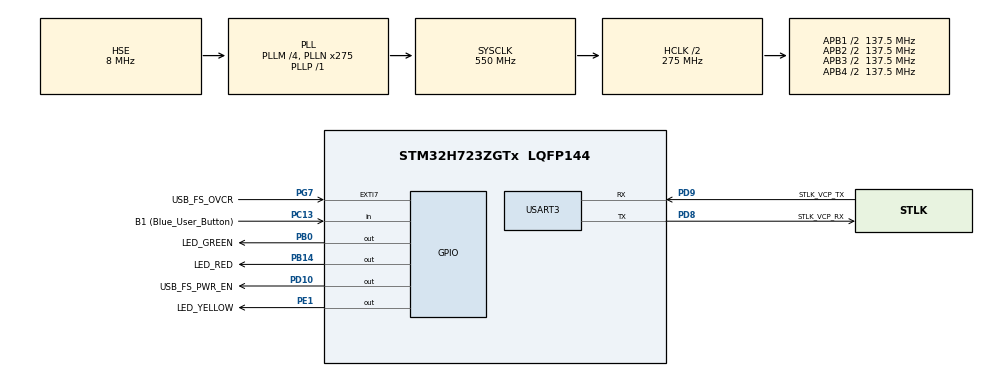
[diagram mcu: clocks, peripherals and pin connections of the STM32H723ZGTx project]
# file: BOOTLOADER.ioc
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Dma.Request0=USART3_TX
Dma.USART3_TX.0.Direction=DMA_MEMORY_TO_PERIPH
Dma.USART3_TX.0.EventEnable=DISABLE
Dma.USART3_TX.0.FIFOMode=DMA_FIFOMODE_DISABLE
Dma.USART3_TX.0.Instance=DMA1_Stream0
Dma.USART3_TX.0.MemDataAlignment=DMA_MDATAALIGN_BYTE
Dma.USART3_TX.0.MemInc=DMA_MINC_ENABLE
Dma.USART3_TX.0.Mode=DMA_NORMAL
Dma.USART3_TX.0.PeriphDataAlignment=DMA_PDATAALIGN_BYTE
Dma.USART3_TX.0.PeriphInc=DMA_PINC_DISABLE
Dma.USART3_TX.0.Polarity=HAL_DMAMUX_REQ_GEN_RISING
Dma.USART3_TX.0.Priority=DMA_PRIORITY_MEDIUM
Dma.USART3_TX.0.RequestNumber=1
Dma.USART3_TX.0.SignalID=NONE
Dma.USART3_TX.0.SyncEnable=DISABLE
Dma.USART3_TX.0.SyncPolarity=HAL_DMAMUX_SYNC_NO_EVENT
Dma.USART3_TX.0.SyncRequestNumber=1
Dma.USART3_TX.0.SyncSignalID=NONE
Mcu.Family=STM32H7
Mcu.Name=STM32H723ZGTx
Mcu.Package=LQFP144
NVIC.DMA1_Stream0_IRQn=true\:0\:0\:false\:false\:true\:false\:true\:true
NVIC.PriorityGroup=NVIC_PRIORITYGROUP_4
NVIC.USART3_IRQn=true\:0\:0\:false\:false\:true\:true\:true\:true
PA1.GPIO_Label=RMII_REF_CLK
PA1.Signal=ETH_REF_CLK
PA10.GPIO_Label=USB_FS_ID
PA10.Signal=USB_OTG_HS_ID
PA13(JTMS/SWDIO).GPIO_Label=SWDIO
PA13(JTMS/SWDIO).Mode=Trace_Asynchronous_SW
PA13(JTMS/SWDIO).Signal=DEBUG_JTMS-SWDIO
PA14(JTCK/SWCLK).GPIO_Label=SWCLK
PA14(JTCK/SWCLK).Mode=Trace_Asynchronous_SW
PA14(JTCK/SWCLK).Signal=DEBUG_JTCK-SWCLK
PA2.GPIO_Label=RMII_MDIO
PA2.Signal=ETH_MDIO
PA7.GPIO_Label=RMII_CRS_DV
PA7.Signal=ETH_CRS_DV
PA9.GPIO_Label=USB_FS_VBUS
PA9.Signal=USB_OTG_HS_VBUS
PB0.GPIO_Label=LED_GREEN
PB0.Signal=GPIO_Output
PB13.GPIO_Label=RMII_TXD1
PB13.Signal=ETH_TXD1
PB14.GPIO_Label=LED_RED
PB14.Signal=GPIO_Output
PB3(JTDO/TRACESWO).GPIO_Label=SWO
PB3(JTDO/TRACESWO).Mode=Trace_Asynchronous_SW
PB3(JTDO/TRACESWO).Signal=DEBUG_JTDO-SWO
PC1.GPIO_Label=RMII_MDC
PC1.Signal=ETH_MDC
PC13.GPIO_Label=B1 (Blue_User_Button)
PC13.Signal=GPIO_Input
PC14-OSC32_IN.Mode=LSE-External-Oscillator
PC14-OSC32_IN.Signal=RCC_OSC32_IN
PC15-OSC32_OUT.Mode=LSE-External-Oscillator
PC15-OSC32_OUT.Signal=RCC_OSC32_OUT
PC4.GPIO_Label=RMII_RXD0
PC4.Signal=ETH_RXD0
PC5.GPIO_Label=RMII_RXD1
PC5.Signal=ETH_RXD1
PD10.GPIO_Label=USB_FS_PWR_EN
PD10.Signal=GPIO_Output
PD8.GPIO_Label=STLK_VCP_RX
PD8.Mode=Asynchronous
PD8.Signal=USART3_TX
PD9.GPIO_Label=STLK_VCP_TX
PD9.Mode=Asynchronous
PD9.Signal=USART3_RX
PE1.GPIO_Label=LED_YELLOW
PE1.Signal=GPIO_Output
PG11.GPIO_Label=RMII_TX_EN
PG11.Signal=ETH_TX_EN
PG13.GPIO_Label=RMII_TXD0
PG13.Signal=ETH_TXD0
PG7.GPIO_Label=USB_FS_OVCR
PG7.Signal=GPXTI7
PH0-OSC_IN.GPIO_Label=MCO
PH0-OSC_IN.Mode=HSE-External-Clock-Source
PH0-OSC_IN.Signal=RCC_OSC_IN
PH1-OSC_OUT.Signal=RCC_OSC_OUT
ProjectManager.HeapSize=0x200
ProjectManager.StackSize=0x400
ProjectManager.TargetToolchain=STM32CubeIDE
RCC.ADCFreq_Value=76000000
RCC.APB1Freq_Value=137500000
RCC.APB2Freq_Value=137500000
RCC.APB3Freq_Value=137500000
RCC.APB4Freq_Value=137500000
RCC.CortexFreq_Value=550000000
RCC.D1PPRE=RCC_APB3_DIV2
RCC.D2PPRE1=RCC_APB1_DIV2
RCC.D2PPRE2=RCC_APB2_DIV2
RCC.D3PPRE=RCC_APB4_DIV2
RCC.DIVM1=4
RCC.DIVM2=1
RCC.DIVN1=275
RCC.DIVN2=19
RCC.DIVP1=1
RCC.DIVQ1=4
RCC.HCLKFreq_Value=275000000
RCC.HPRE=RCC_HCLK_DIV2
RCC.HSE_VALUE=8000000
RCC.PLLFRACN=0
RCC.PLLSourceVirtual=RCC_PLLSOURCE_HSE
RCC.SYSCLKFreq_VALUE=550000000
RCC.SYSCLKSource=RCC_SYSCLKSOURCE_PLLCLK
RCC.USBCLockSelection=RCC_USBCLKSOURCE_HSI48
RCC.USBFreq_Value=48000000
USART3.VirtualMode-Asynchronous=VM_ASYNC
VP_CRC_VS_CRC.Mode=CRC_Activate
board=NUCLEO-H723ZG

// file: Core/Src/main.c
/* USER CODE BEGIN Header */
/**
  ******************************************************************************
  * @file           : main.c
  * @brief          : Main program body
  ******************************************************************************
  * @attention
  *
  * Copyright (c) 2022 STMicroelectronics.
  * All rights reserved.
  *
  * This software is licensed under terms that can be found in the LICENSE file
  * in the root directory of this software component.
  * If no LICENSE file comes with this software, it is provided AS-IS.
  *
  ******************************************************************************
  */
/* USER CODE END Header */
#include "main.h"
#include "bootloader.h"

/* USER CODE BEGIN PD */
#define UART_TX_BUFFER_LENGTH 66
#define UART_RX_BUFFER_LENGTH 66

/* USER CODE END PD */

CRC_HandleTypeDef hcrc;

UART_HandleTypeDef huart3;
DMA_HandleTypeDef hdma_usart3_tx;

void SystemClock_Config(void);
static void MX_GPIO_Init(void);
static void MX_DMA_Init(void);
static void MX_USART3_UART_Init(void);
static void MX_CRC_Init(void);

/* USER CODE BEGIN 0 */

volatile uint8_t UART_TX_finished = 1;
uint8_t UART_TX_BUFFER[UART_TX_BUFFER_LENGTH];
uint8_t UART_RX_BUFFER[UART_RX_BUFFER_LENGTH];

int _write(int file, uint8_t *data, int len)
{
   while(!UART_TX_finished);
   UART_TX_finished = 0;
   memcpy(UART_TX_BUFFER, data, len);

   HAL_StatusTypeDef status =
	  HAL_UART_Transmit_DMA(&huart3, (uint8_t*)UART_TX_BUFFER, len);

   // return # of bytes written - as best we can tell
   return (status == HAL_OK ? len : 0);

}

void HAL_UART_TxCpltCallback(UART_HandleTypeDef *huart)
{
	UART_TX_finished = 1;
}

/* USER CODE END 0 */

int main(void)
{

  /* MCU Configuration--------------------------------------------------------*/

  /* Reset of all peripherals, Initializes the Flash interface and the Systick. */
  HAL_Init();

  /* Configure the system clock */
  SystemClock_Config();

  /* Initialize all configured peripherals */
  MX_GPIO_Init();
  MX_DMA_Init();
  MX_USART3_UART_Init();
  MX_CRC_Init();
  /* USER CODE BEGIN 2 */
  HAL_Delay(500);
  bootloader();
  /* USER CODE END 2 */

  /* Infinite loop */
  while (1)
  {

    /* USER CODE BEGIN 3 */
	printf("A\r\n");
	HAL_Delay(2000);
  }
  /* USER CODE END 3 */
}

void SystemClock_Config(void)
{
  RCC_OscInitTypeDef RCC_OscInitStruct = {0};
  RCC_ClkInitTypeDef RCC_ClkInitStruct = {0};

  /** Supply configuration update enable
  */
  HAL_PWREx_ConfigSupply(PWR_LDO_SUPPLY);

  /** Configure the main internal regulator output voltage
  */
  __HAL_PWR_VOLTAGESCALING_CONFIG(PWR_REGULATOR_VOLTAGE_SCALE0);

  while(!__HAL_PWR_GET_FLAG(PWR_FLAG_VOSRDY)) {}

  /** Initializes the RCC Oscillators according to the specified parameters
  * in the RCC_OscInitTypeDef structure.
  */
  RCC_OscInitStruct.OscillatorType = RCC_OSCILLATORTYPE_HSE;
  RCC_OscInitStruct.HSEState = RCC_HSE_BYPASS;
  RCC_OscInitStruct.PLL.PLLState = RCC_PLL_ON;
  RCC_OscInitStruct.PLL.PLLSource = RCC_PLLSOURCE_HSE;
  RCC_OscInitStruct.PLL.PLLM = 4;
  RCC_OscInitStruct.PLL.PLLN = 275;
  RCC_OscInitStruct.PLL.PLLP = 1;
  RCC_OscInitStruct.PLL.PLLQ = 4;
  RCC_OscInitStruct.PLL.PLLR = 2;
  RCC_OscInitStruct.PLL.PLLRGE = RCC_PLL1VCIRANGE_1;
  RCC_OscInitStruct.PLL.PLLVCOSEL = RCC_PLL1VCOWIDE;
  RCC_OscInitStruct.PLL.PLLFRACN = 0;
  if (HAL_RCC_OscConfig(&RCC_OscInitStruct) != HAL_OK)
  {
    Error_Handler();
  }

  /** Initializes the CPU, AHB and APB buses clocks
  */
  RCC_ClkInitStruct.ClockType = RCC_CLOCKTYPE_HCLK|RCC_CLOCKTYPE_SYSCLK
                              |RCC_CLOCKTYPE_PCLK1|RCC_CLOCKTYPE_PCLK2
                              |RCC_CLOCKTYPE_D3PCLK1|RCC_CLOCKTYPE_D1PCLK1;
  RCC_ClkInitStruct.SYSCLKSource = RCC_SYSCLKSOURCE_PLLCLK;
  RCC_ClkInitStruct.SYSCLKDivider = RCC_SYSCLK_DIV1;
  RCC_ClkInitStruct.AHBCLKDivider = RCC_HCLK_DIV2;
  RCC_ClkInitStruct.APB3CLKDivider = RCC_APB3_DIV2;
  RCC_ClkInitStruct.APB1CLKDivider = RCC_APB1_DIV2;
  RCC_ClkInitStruct.APB2CLKDivider = RCC_APB2_DIV2;
  RCC_ClkInitStruct.APB4CLKDivider = RCC_APB4_DIV2;

  if (HAL_RCC_ClockConfig(&RCC_ClkInitStruct, FLASH_LATENCY_3) != HAL_OK)
  {
    Error_Handler();
  }
}

static void MX_CRC_Init(void)
{

  hcrc.Instance = CRC;
  hcrc.Init.DefaultPolynomialUse = DEFAULT_POLYNOMIAL_ENABLE;
  hcrc.Init.DefaultInitValueUse = DEFAULT_INIT_VALUE_ENABLE;
  hcrc.Init.InputDataInversionMode = CRC_INPUTDATA_INVERSION_NONE;
  hcrc.Init.OutputDataInversionMode = CRC_OUTPUTDATA_INVERSION_DISABLE;
  hcrc.InputDataFormat = CRC_INPUTDATA_FORMAT_BYTES;
  if (HAL_CRC_Init(&hcrc) != HAL_OK)
  {
    Error_Handler();
  }

}

static void MX_USART3_UART_Init(void)
{

  huart3.Instance = USART3;
  huart3.Init.BaudRate = 115200;
  huart3.Init.WordLength = UART_WORDLENGTH_8B;
  huart3.Init.StopBits = UART_STOPBITS_1;
  huart3.Init.Parity = UART_PARITY_NONE;
  huart3.Init.Mode = UART_MODE_TX_RX;
  huart3.Init.HwFlowCtl = UART_HWCONTROL_NONE;
  huart3.Init.OverSampling = UART_OVERSAMPLING_16;
  huart3.Init.OneBitSampling = UART_ONE_BIT_SAMPLE_DISABLE;
  huart3.Init.ClockPrescaler = UART_PRESCALER_DIV1;
  huart3.AdvancedInit.AdvFeatureInit = UART_ADVFEATURE_NO_INIT;
  if (HAL_UART_Init(&huart3) != HAL_OK)
  {
    Error_Handler();
  }
  if (HAL_UARTEx_SetTxFifoThreshold(&huart3, UART_TXFIFO_THRESHOLD_1_8) != HAL_OK)
  {
    Error_Handler();
  }
  if (HAL_UARTEx_SetRxFifoThreshold(&huart3, UART_RXFIFO_THRESHOLD_1_8) != HAL_OK)
  {
    Error_Handler();
  }
  if (HAL_UARTEx_DisableFifoMode(&huart3) != HAL_OK)
  {
    Error_Handler();
  }

}

static void MX_DMA_Init(void)
{

  /* DMA controller clock enable */
  __HAL_RCC_DMA1_CLK_ENABLE();

  /* DMA interrupt init */
  /* DMA1_Stream0_IRQn interrupt configuration */
  HAL_NVIC_SetPriority(DMA1_Stream0_IRQn, 0, 0);
  HAL_NVIC_EnableIRQ(DMA1_Stream0_IRQn);

}

static void MX_GPIO_Init(void)
{
  GPIO_InitTypeDef GPIO_InitStruct = {0};

  /* GPIO Ports Clock Enable */
  __HAL_RCC_GPIOC_CLK_ENABLE();
  __HAL_RCC_GPIOH_CLK_ENABLE();
  __HAL_RCC_GPIOA_CLK_ENABLE();
  __HAL_RCC_GPIOB_CLK_ENABLE();
  __HAL_RCC_GPIOD_CLK_ENABLE();
  __HAL_RCC_GPIOG_CLK_ENABLE();
  __HAL_RCC_GPIOE_CLK_ENABLE();

  /*Configure GPIO pin Output Level */
  HAL_GPIO_WritePin(GPIOB, LED_GREEN_Pin|LED_RED_Pin, GPIO_PIN_RESET);

  /*Configure GPIO pin Output Level */
  HAL_GPIO_WritePin(USB_FS_PWR_EN_GPIO_Port, USB_FS_PWR_EN_Pin, GPIO_PIN_RESET);

  /*Configure GPIO pin Output Level */
  HAL_GPIO_WritePin(LED_YELLOW_GPIO_Port, LED_YELLOW_Pin, GPIO_PIN_RESET);

  /*Configure GPIO pin : B1_Pin */
  GPIO_InitStruct.Pin = B1_Pin;
  GPIO_InitStruct.Mode = GPIO_MODE_INPUT;
  GPIO_InitStruct.Pull = GPIO_NOPULL;
  HAL_GPIO_Init(B1_GPIO_Port, &GPIO_InitStruct);

  /*Configure GPIO pins : RMII_MDC_Pin RMII_RXD0_Pin RMII_RXD1_Pin */
  GPIO_InitStruct.Pin = RMII_MDC_Pin|RMII_RXD0_Pin|RMII_RXD1_Pin;
  GPIO_InitStruct.Mode = GPIO_MODE_AF_PP;
  GPIO_InitStruct.Pull = GPIO_NOPULL;
  GPIO_InitStruct.Speed = GPIO_SPEED_FREQ_LOW;
  GPIO_InitStruct.Alternate = GPIO_AF11_ETH;
  HAL_GPIO_Init(GPIOC, &GPIO_InitStruct);

  /*Configure GPIO pins : RMII_REF_CLK_Pin RMII_MDIO_Pin RMII_CRS_DV_Pin */
  GPIO_InitStruct.Pin = RMII_REF_CLK_Pin|RMII_MDIO_Pin|RMII_CRS_DV_Pin;
  GPIO_InitStruct.Mode = GPIO_MODE_AF_PP;
  GPIO_InitStruct.Pull = GPIO_NOPULL;
  GPIO_InitStruct.Speed = GPIO_SPEED_FREQ_LOW;
  GPIO_InitStruct.Alternate = GPIO_AF11_ETH;
  HAL_GPIO_Init(GPIOA, &GPIO_InitStruct);

  /*Configure GPIO pins : LED_GREEN_Pin LED_RED_Pin */
  GPIO_InitStruct.Pin = LED_GREEN_Pin|LED_RED_Pin;
  GPIO_InitStruct.Mode = GPIO_MODE_OUTPUT_PP;
  GPIO_InitStruct.Pull = GPIO_NOPULL;
  GPIO_InitStruct.Speed = GPIO_SPEED_FREQ_LOW;
  HAL_GPIO_Init(GPIOB, &GPIO_InitStruct);

  /*Configure GPIO pin : RMII_TXD1_Pin */
  GPIO_InitStruct.Pin = RMII_TXD1_Pin;
  GPIO_InitStruct.Mode = GPIO_MODE_AF_PP;
  GPIO_InitStruct.Pull = GPIO_NOPULL;
  GPIO_InitStruct.Speed = GPIO_SPEED_FREQ_LOW;
  GPIO_InitStruct.Alternate = GPIO_AF11_ETH;
  HAL_GPIO_Init(RMII_TXD1_GPIO_Port, &GPIO_InitStruct);

  /*Configure GPIO pin : USB_FS_PWR_EN_Pin */
  GPIO_InitStruct.Pin = USB_FS_PWR_EN_Pin;
  GPIO_InitStruct.Mode = GPIO_MODE_OUTPUT_PP;
  GPIO_InitStruct.Pull = GPIO_NOPULL;
  GPIO_InitStruct.Speed = GPIO_SPEED_FREQ_LOW;
  HAL_GPIO_Init(USB_FS_PWR_EN_GPIO_Port, &GPIO_InitStruct);

  /*Configure GPIO pin : USB_FS_OVCR_Pin */
  GPIO_InitStruct.Pin = USB_FS_OVCR_Pin;
  GPIO_InitStruct.Mode = GPIO_MODE_IT_RISING;
  GPIO_InitStruct.Pull = GPIO_NOPULL;
  HAL_GPIO_Init(USB_FS_OVCR_GPIO_Port, &GPIO_InitStruct);

  /*Configure GPIO pin : USB_FS_ID_Pin */
  GPIO_InitStruct.Pin = USB_FS_ID_Pin;
  GPIO_InitStruct.Mode = GPIO_MODE_AF_PP;
  GPIO_InitStruct.Pull = GPIO_NOPULL;
  GPIO_InitStruct.Speed = GPIO_SPEED_FREQ_LOW;
  GPIO_InitStruct.Alternate = GPIO_AF10_OTG1_HS;
  HAL_GPIO_Init(USB_FS_ID_GPIO_Port, &GPIO_InitStruct);

  /*Configure GPIO pins : RMII_TX_EN_Pin RMII_TXD0_Pin */
  GPIO_InitStruct.Pin = RMII_TX_EN_Pin|RMII_TXD0_Pin;
  GPIO_InitStruct.Mode = GPIO_MODE_AF_PP;
  GPIO_InitStruct.Pull = GPIO_NOPULL;
  GPIO_InitStruct.Speed = GPIO_SPEED_FREQ_LOW;
  GPIO_InitStruct.Alternate = GPIO_AF11_ETH;
  HAL_GPIO_Init(GPIOG, &GPIO_InitStruct);

  /*Configure GPIO pin : LED_YELLOW_Pin */
  GPIO_InitStruct.Pin = LED_YELLOW_Pin;
  GPIO_InitStruct.Mode = GPIO_MODE_OUTPUT_PP;
  GPIO_InitStruct.Pull = GPIO_NOPULL;
  GPIO_InitStruct.Speed = GPIO_SPEED_FREQ_LOW;
  HAL_GPIO_Init(LED_YELLOW_GPIO_Port, &GPIO_InitStruct);

}

void Error_Handler(void)
{
  __disable_irq();
  while (1)
  {
  }
}
